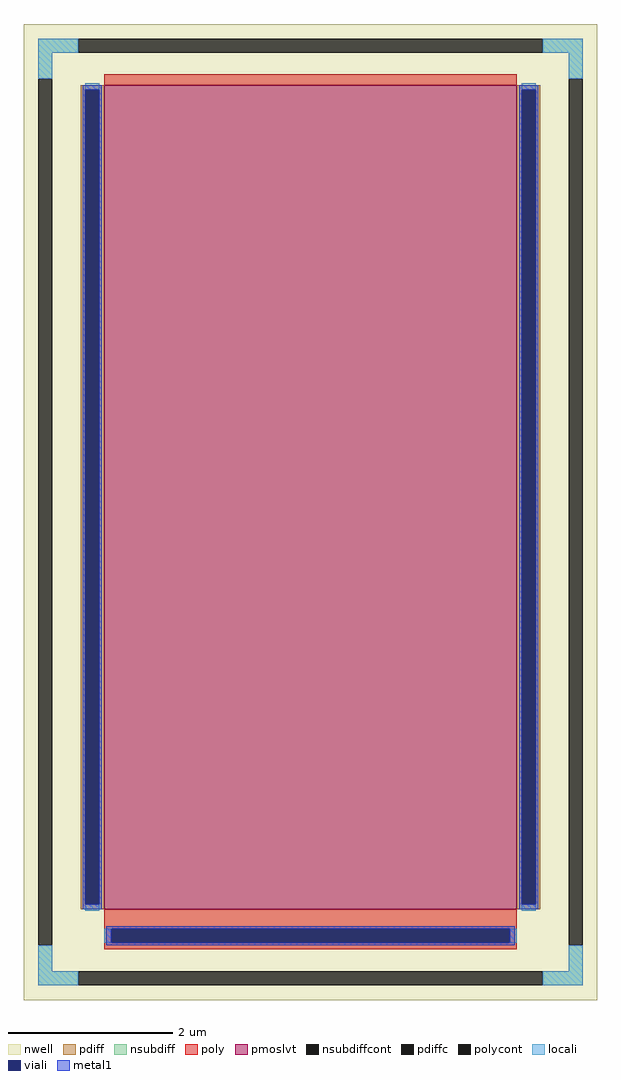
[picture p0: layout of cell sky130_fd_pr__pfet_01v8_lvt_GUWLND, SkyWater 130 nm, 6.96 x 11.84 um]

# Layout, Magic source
magic
tech sky130A
magscale 1 2
<< nwell >>
rect -696 -1184 696 1184
<< pmoslvt >>
rect -500 -964 500 1036
<< pdiff >>
rect -558 1024 -500 1036
rect -558 -952 -546 1024
rect -512 -952 -500 1024
rect -558 -964 -500 -952
rect 500 1024 558 1036
rect 500 -952 512 1024
rect 546 -952 558 1024
rect 500 -964 558 -952
<< pdiffc >>
rect -546 -952 -512 1024
rect 512 -952 546 1024
<< nsubdiff >>
rect -660 1114 -564 1148
rect 564 1114 660 1148
rect -660 1051 -626 1114
rect 626 1051 660 1114
rect -660 -1114 -626 -1051
rect 626 -1114 660 -1051
rect -660 -1148 -564 -1114
rect 564 -1148 660 -1114
<< nsubdiffcont >>
rect -564 1114 564 1148
rect -660 -1051 -626 1051
rect 626 -1051 660 1051
rect -564 -1148 564 -1114
<< poly >>
rect -500 1036 500 1062
rect -500 -1011 500 -964
rect -500 -1045 -484 -1011
rect 484 -1045 500 -1011
rect -500 -1061 500 -1045
<< polycont >>
rect -484 -1045 484 -1011
<< locali >>
rect -660 1114 -564 1148
rect 564 1114 660 1148
rect -660 1051 -626 1114
rect 626 1051 660 1114
rect -546 1024 -512 1040
rect -546 -968 -512 -952
rect 512 1024 546 1040
rect 512 -968 546 -952
rect -500 -1045 -484 -1011
rect 484 -1045 500 -1011
rect -660 -1114 -626 -1051
rect 626 -1114 660 -1051
rect -660 -1148 -564 -1114
rect 564 -1148 660 -1114
<< viali >>
rect -546 -952 -512 1024
rect 512 -952 546 1024
rect -484 -1045 484 -1011
<< metal1 >>
rect -552 1024 -506 1036
rect -552 -952 -546 1024
rect -512 -952 -506 1024
rect -552 -964 -506 -952
rect 506 1024 552 1036
rect 506 -952 512 1024
rect 546 -952 552 1024
rect 506 -964 552 -952
rect -496 -1011 496 -1005
rect -496 -1045 -484 -1011
rect 484 -1045 496 -1011
rect -496 -1051 496 -1045
<< properties >>
string FIXED_BBOX -643 -1131 643 1131
string gencell sky130_fd_pr__pfet_01v8_lvt
string library sky130
string parameters w 10.0 l 5.0 m 1 nf 1 diffcov 100 polycov 100 guard 1 glc 1 grc 1 gtc 1 gbc 1 tbcov 100 rlcov 100 topc 0 botc 1 poverlap 0 doverlap 1 lmin 0.35 wmin 0.42 compatible {sky130_fd_pr__pfet_01v8  sky130_fd_pr__pfet_01v8_lvt sky130_fd_pr__pfet_01v8_hvt  sky130_fd_pr__pfet_g5v0d10v5} full_metal 1 viasrc 100 viadrn 100 viagate 100 viagb 0 viagr 0 viagl 0 viagt 0
<< end >>
